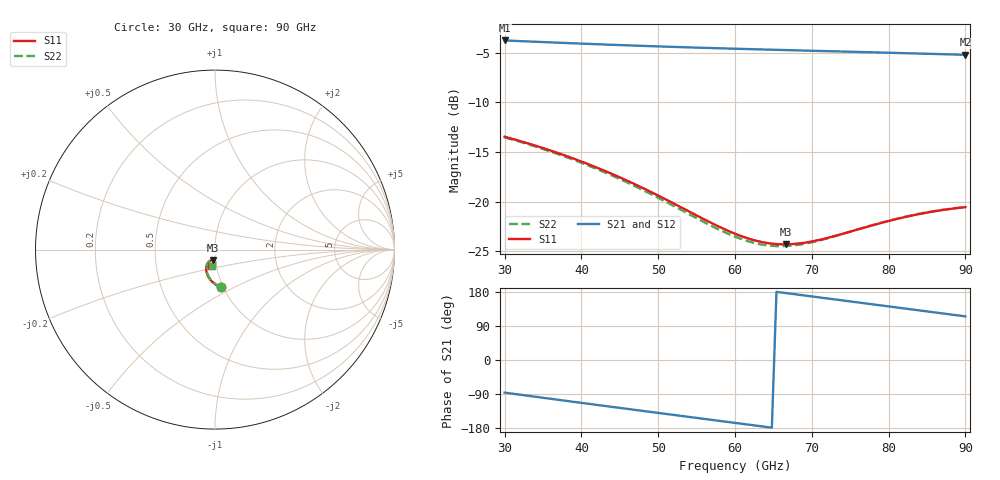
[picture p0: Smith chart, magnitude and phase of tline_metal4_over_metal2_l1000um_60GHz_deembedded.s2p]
! Created with skrf 2.2.0 (http://scikit-rf.org).
# GHz S DB R 50.0
! Port[1] = P1
! Port[2] = P2
!freq dBS11 angS11 dBS21 angS21 dBS12 angS12 dBS22 angS22
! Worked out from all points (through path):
!   101 points, 30 GHz to 90 GHz, reference 50 ohm
!   highest |S21| = -3.74 dB at 30 GHz (marker M1); lowest = -5.2 dB at 90 GHz (marker M2)
!   group delay of S21, straight-line fit = 7.33 ps
!   lowest |S11| = -24.3 dB at 66.6 GHz (marker M3), VSWR 1.13, Z = 48.4 - j5.79 ohm
!   |S11| at or under -10 dB: start of sweep to end of sweep
!   |S22| runs from -24.5 to -13.5 dB; largest |S21 - S12| = 7.5e-14
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30  -13.46 -80.9  -3.74 -86.0  -3.74 -86.0  -13.52 -80.8
32.4  -13.98 -86.5  -3.82 -92.6  -3.82 -92.6  -14.06 -86.4
34.8  -14.55 -91.9  -3.90 -99.1  -3.90 -99.1  -14.64 -91.7
37.2  -15.17 -97.0  -3.97 -105.6  -3.97 -105.6  -15.27 -96.8
40.2  -16.02 -102.9  -4.07 -113.6  -4.07 -113.6  -16.14 -102.7
42.6  -16.76 -107.2  -4.14 -120.0  -4.14 -120.0  -16.90 -106.9
45.6  -17.76 -111.8  -4.22 -128.0  -4.22 -128.0  -17.94 -111.5
50.4  -19.55 -117.1  -4.35 -140.7  -4.35 -140.7  -19.78 -116.5
52.8  -20.51 -118.3  -4.41 -147.0  -4.41 -147.0  -20.76 -117.6
55.2  -21.47 -118.4  -4.47 -153.3  -4.47 -153.3  -21.75 -117.4
57.6  -22.41 -117.2  -4.52 -159.6  -4.52 -159.6  -22.71 -115.8
60  -23.24 -114.4  -4.57 -165.9  -4.57 -165.9  -23.54 -112.7
61.8  -23.74 -111.5  -4.61 -170.7  -4.61 -170.7  -24.02 -109.4
63.6  -24.10 -108.0  -4.65 -175.4  -4.65 -175.4  -24.35 -105.6
66.6  -24.31 -101.8  -4.71 176.7  -4.71 176.7  -24.49 -99.1
68.4  -24.22 -98.3  -4.75 172.0  -4.75 172.0  -24.34 -95.6
70.2  -23.99 -95.4  -4.78 167.2  -4.78 167.2  -24.07 -92.8
75  -23.04 -91.4  -4.88 154.6  -4.88 154.6  -23.03 -89.2
77.4  -22.50 -91.3  -4.93 148.3  -4.93 148.3  -22.48 -89.3
80.4  -21.88 -92.5  -4.99 140.4  -4.99 140.4  -21.85 -90.7
85.2  -21.08 -96.6  -5.09 127.7  -5.09 127.7  -21.06 -95.3
90  -20.56 -102.5  -5.19 115.1  -5.19 115.1  -20.56 -101.3
